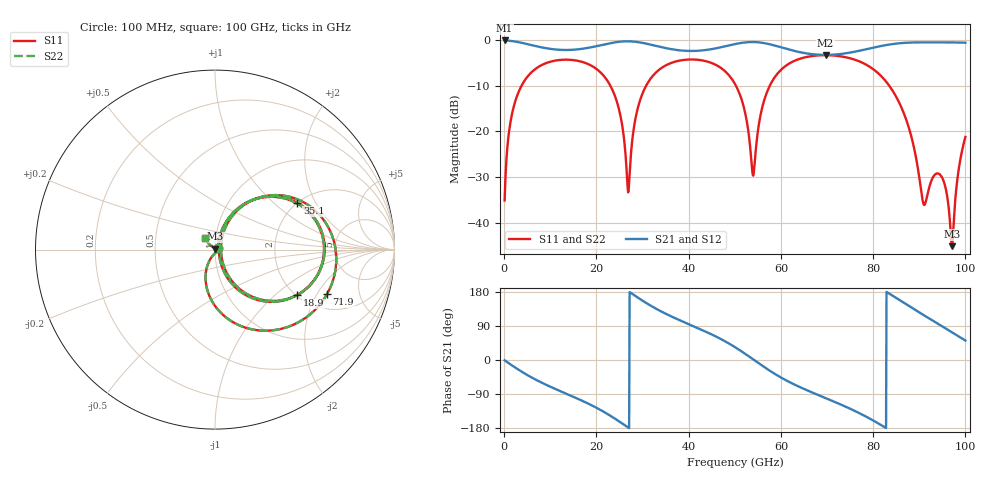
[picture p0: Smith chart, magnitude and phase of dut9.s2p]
! Touchstone file exported from HFSS 2026.1.0
!  File:  C:/ffzhzh/LocalFiles/Ansys_Project_Files/temp_train_TSV_RDL_9_1783612457_26216.aedt
!  Generated:  12:03:59 AM Jul 10, 2026
!  Design:  TSV_RDL
!  Project:  temp_train_TSV_RDL_9_1783612457_26216
! Variables:
!  h_bsmrdl = 2.52um
!  h_ox = 20um
!  h_rdl = 5um
!  h_sub = 79.77um
!  h_tmrdl = 2.38um
!  h_tsv = 79.77um
!  h_via = 3um
!  l_bsmrdl = 403.51um
!  l_sub = 2153.18um
!  l_tmrdl = 105.31um
!  m_sub = 200um
!  pitch = 55.61um
!  r_tsv = 5.87um
!  s_tmrdl = 10um
!  w_bsmrdl = 18.99um
!  w_sub = 500um
!  w_tmrdl = 21.48um
!  x_tsv_center1 = 116.05um
!  x_tsv_center2 = 538.55um
!  x_tsv_center3 = 665.34um
!  x_tsv_center4 = 1087.84um
!  x_tsv_center5 = 1214.63um
!  x_tsv_center6 = 1637.13um
# GHz S MA R 50.000000
! Terminal data exported
! Port[1] = TM_RDL1_1_T1
! Port[2] = TM_RDL5_1_T1
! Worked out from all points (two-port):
!   1000 points, 100 MHz to 100 GHz, reference 50 ohm
!   highest |S21| = -0.13 dB at 100 MHz (marker M1); lowest = -3.3 dB at 69.7 GHz (marker M2)
!   |S21| within 3 dB of the highest: start of sweep to 66.83 GHz; 72.54 GHz to end of sweep
!   lowest |S11| = -45.1 dB at 97.1 GHz (marker M3), VSWR 1.01, Z = 50.2 + j0.517 ohm
!   |S11| at or under -10 dB: 23.02 GHz to 30.79 GHz (7.777 GHz wide, 28.9 % of centre); 50.24 GHz to 57.6 GHz (7.362 GHz wide, 13.7 % of centre); 83.48 GHz to end of sweep (the widest 3 of 4)
!   |S22| runs from -46.1 to -3.3 dB; largest |S21 - S12| = 3.5e-14
!   S11 on the Smith chart (normalised r, x): 100 MHz: 1.03, +0.02; 18.9 GHz: 2.02, -1.41; 35.1 GHz: 2.00, +1.45; 71.9 GHz: 2.71, -2.45; 100 GHz: 0.88, +0.12
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0.1  0.0176 32.7  0.9853 -0.9  0.9853 -0.9  0.0176 32.7
! Gamma 0 0 0 0
! Port Impedance 50 0 50 0
1.6  0.1462 69.4  0.9713 -13.5  0.9713 -13.5  0.1462 69.4
4.3  0.3505 52.3  0.9169 -34.5  0.9169 -34.5  0.3505 52.3
16.8  0.5768 -17.4  0.7972 -106.9  0.7972 -106.9  0.5767 -17.4
18.9  0.5229 -29.1  0.8308 -119.1  0.8308 -119.1  0.5228 -29.1
24.2  0.2299 -62.4  0.9426 -156.2  0.9426 -156.2  0.2299 -62.4
26.9  0.02159 0.8  0.9642 -178.3  0.9642 -178.3  0.02159 0.9
29.2  0.1981 65.8  0.9421 162.9  0.9421 162.9  0.1981 65.8
33.4  0.4631 39.6  0.8481 132.3  0.8481 132.3  0.4632 39.6
35.1  0.5284 29.6  0.8116 121.7  0.8116 121.7  0.5284 29.6
42.4  0.6025 -8.3  0.7626 81.9  0.7626 81.9  0.6025 -8.3
50.1  0.326 -52.5  0.9 33.5  0.9 33.5  0.326 -52.4
54  0.03287 4.2  0.9471 1.5  0.9471 1.5  0.03323 4.3
57.9  0.338 53.5  0.8872 -30.8  0.8872 -30.8  0.3381 53.5
66.7  0.6652 3.5  0.6987 -85.3  0.6987 -85.3  0.6652 3.5
69.7  0.6806 -11.0  0.6851 -100.6  0.6851 -100.6  0.6806 -11.0
71.9  0.6716 -21.7  0.6927 -111.8  0.6927 -111.8  0.6716 -21.7
83.4  0.3202 -89.1  0.8875 176.0  0.8875 176.0  0.3202 -89.1
90.9  0.01624 -67.7  0.9393 118.9  0.9393 118.9  0.01646 -67.6
94.6  0.03333 -4.5  0.9385 91.5  0.9385 91.5  0.03336 -5.2
97.1  0.005584 67.3  0.9375 73.1  0.9375 73.1  0.004955 66.8
100  0.08712 131.3  0.9308 51.4  0.9308 51.4  0.087 131.9
